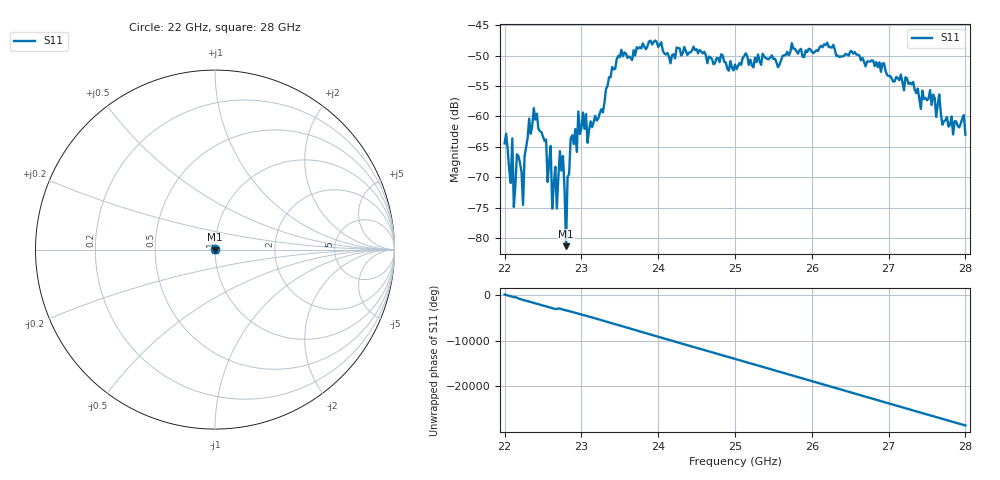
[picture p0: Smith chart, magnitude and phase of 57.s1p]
#  HZ  S  RI  R  50.00
! Rohde & Schwarz ZVA40 4Ports - Version 3.90 - 1145.1110k42 SN: 100403
! Date: 2023-10-04 07:41:13
! Measurement: S12
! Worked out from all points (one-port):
!   301 points, 22 GHz to 28 GHz, reference 50 ohm
!   lowest |S11| = -81.3 dB at 22.8 GHz (marker M1), VSWR 1.00, Z = 50 - j0.00548 ohm
!   |S11| at or under -10 dB: start of sweep to end of sweep
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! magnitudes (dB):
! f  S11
! 22 GHz  -64.4
! 22.08 GHz  -70.9
! 22.1 GHz  -63.6
! 22.12 GHz  -74.9
! 22.16 GHz  -66.2
! 22.24 GHz  -74.5
! 22.26 GHz  -66.5
! 22.38 GHz  -58.6
! 22.54 GHz  -63.8
! 22.56 GHz  -70.8
! 22.6 GHz  -64.8
! 22.62 GHz  -75.1
! 22.66 GHz  -68.3
! 22.68 GHz  -75.1
! 22.76 GHz  -66.5
! 22.8 GHz  -81.3
! 22.82 GHz  -69.9
! 22.86 GHz  -63.6
! 22.94 GHz  -65.8
! 22.96 GHz  -59.2
! 23.08 GHz  -64.3
! 23.5 GHz  -50.3
! 24.26 GHz  -48.8
! 25 GHz  -51.5
! 25.76 GHz  -48.9
! 26.5 GHz  -49.3
! 27.26 GHz  -54.7
! 28 GHz  -63.0
